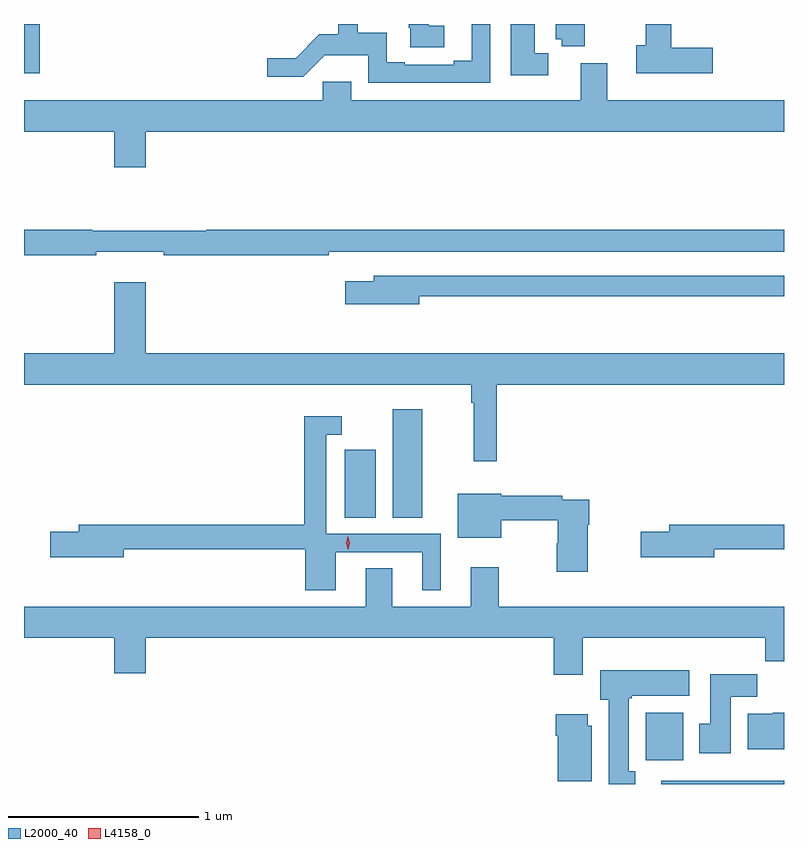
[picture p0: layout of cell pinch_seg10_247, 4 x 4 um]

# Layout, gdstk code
import gdstk
lib = gdstk.Library(unit=1e-6, precision=1e-09)
def R(c, l, rs):  # rectangles x0, y0, x1, y1
    for r in rs: c.add(gdstk.rectangle(r[:2], r[2:], *l))
def P(c, l, *ps):  # polygons
    for p in ps: c.add(gdstk.Polygon(p, *l))
L2000_40 = (2000, 40)
L4158_0 = (4158, 0)

pinch_seg10_247 = lib.new_cell('pinch_seg10_247')
R(pinch_seg10_247, L2000_40, [(575.477,1303.542,576.124,1303.558), (575.397,1303.668,575.593,1303.918), (573.812,1304.944,573.976,1305.301), (574.064,1304.944,574.219,1305.514), (572.124,1307.283,572.206,1307.542), (573.392,1307.54,573.595,1307.542)])
P(pinch_seg10_247, L2000_40, [(575.074,1307.542),(574.922,1307.542),(574.922,1307.462),(574.954,1307.462),(574.954,1307.425),(575.074,1307.425)],
  [(574.336,1307.534),(574.254,1307.534),(574.254,1307.542),(574.15,1307.542),(574.15,1307.521),(574.156,1307.521),(574.156,1307.419),(574.336,1307.419)],
  [(574.882,1307.388),(574.813,1307.388),(574.813,1307.542),(574.685,1307.542),(574.685,1307.273),(574.882,1307.273)],
  [(574.578,1307.542),(574.481,1307.542),(574.481,1307.348),(574.385,1307.348),(574.385,1307.328),(574.129,1307.328),(574.129,1307.342),(574.032,1307.342),(574.032,1307.495),(573.881,1307.495),(573.881,1307.542),(573.779,1307.542),(573.779,1307.488),(573.679,1307.488),(573.553,1307.362),(573.405,1307.362),(573.405,1307.265),(573.594,1307.265),(573.707,1307.378),(573.936,1307.378),(573.936,1307.232),(574.578,1307.232)],
  [(575.749,1307.417),(575.531,1307.417),(575.531,1307.542),(575.396,1307.542),(575.396,1307.43),(575.346,1307.43),(575.346,1307.282),(575.749,1307.282)],
  [(572.764,1306.976),(576.124,1306.976),(576.124,1307.14),(575.194,1307.14),(575.194,1307.335),(575.054,1307.335),(575.054,1307.14),(573.847,1307.14),(573.847,1307.238),(573.696,1307.238),(573.696,1307.14),(572.124,1307.14),(572.124,1306.976),(572.6,1306.976),(572.6,1306.788),(572.764,1306.788)],
  [(572.504,1306.343),(572.86,1306.343),(572.86,1306.324),(573.728,1306.324),(573.728,1306.344),(576.124,1306.344),(576.124,1306.46),(573.083,1306.46),(573.083,1306.453),(572.483,1306.453),(572.483,1306.46),(572.124,1306.46),(572.124,1306.324),(572.504,1306.324)],
  [(574.204,1306.11),(576.124,1306.11),(576.124,1306.218),(573.965,1306.218),(573.965,1306.189),(573.816,1306.189),(573.816,1306.067),(574.204,1306.067)],
  [(574.613,1305.644),(576.124,1305.644),(576.124,1305.808),(572.764,1305.808),(572.764,1306.183),(572.6,1306.183),(572.6,1305.808),(572.124,1305.808),(572.124,1305.644),(574.477,1305.644),(574.477,1305.548),(574.492,1305.548),(574.492,1305.24),(574.613,1305.24)],
  [(573.766,1304.763),(574.22,1304.763),(574.22,1304.562),(574.318,1304.562),(574.318,1304.859),(573.714,1304.859),(573.714,1305.381),(573.796,1305.381),(573.796,1305.478),(573.598,1305.478),(573.598,1304.906),(572.411,1304.906),(572.411,1304.87),(572.262,1304.87),(572.262,1304.735),(572.65,1304.735),(572.65,1304.778),(573.605,1304.778),(573.605,1304.562),(573.766,1304.562)],
  [(575.092,1304.906),(575.1,1304.906),(575.1,1305.039),(574.958,1305.039),(574.958,1305.059),(574.636,1305.059),(574.636,1305.07),(574.406,1305.07),(574.406,1304.837),(574.636,1304.837),(574.636,1304.931),(574.934,1304.931),(574.934,1304.808),(574.927,1304.808),(574.927,1304.658),(575.092,1304.658)],
  [(575.758,1304.778),(576.124,1304.778),(576.124,1304.906),(575.519,1304.906),(575.519,1304.87),(575.37,1304.87),(575.37,1304.735),(575.758,1304.735)],
  [(574.913,1304.118),(575.065,1304.118),(575.065,1304.312),(576.025,1304.312),(576.025,1304.188),(576.124,1304.188),(576.124,1304.476),(574.623,1304.476),(574.623,1304.683),(574.475,1304.683),(574.475,1304.476),(574.063,1304.476),(574.063,1304.678),(573.923,1304.678),(573.923,1304.476),(572.124,1304.476),(572.124,1304.312),(572.6,1304.312),(572.6,1304.124),(572.764,1304.124),(572.764,1304.312),(574.913,1304.312)],
  [(575.341,1303.609),(575.308,1303.609),(575.308,1303.993),(575.322,1303.993),(575.322,1304.006),(575.626,1304.006),(575.626,1304.14),(575.156,1304.14),(575.156,1303.986),(575.201,1303.986),(575.201,1303.542),(575.341,1303.542)],
  [(575.845,1304),(575.984,1304),(575.984,1304.119),(575.735,1304.119),(575.735,1303.86),(575.678,1303.86),(575.678,1303.704),(575.845,1303.704)],
  [(576.124,1303.918),(576.066,1303.918),(576.066,1303.912),(575.933,1303.912),(575.933,1303.724),(576.124,1303.724)],
  [(575.113,1303.848),(575.092,1303.848),(575.092,1303.909),(574.922,1303.909),(574.922,1303.796),(574.934,1303.796),(574.934,1303.556),(575.113,1303.556)])
P(pinch_seg10_247, L4158_0, [(573.83,1304.774),(573.83,1304.774),(573.819,1304.81),(573.828,1304.847),(573.828,1304.847),(573.828,1304.847),(573.839,1304.811),(573.83,1304.774)])

lib.write_gds('pinch_seg10_247.gds')
